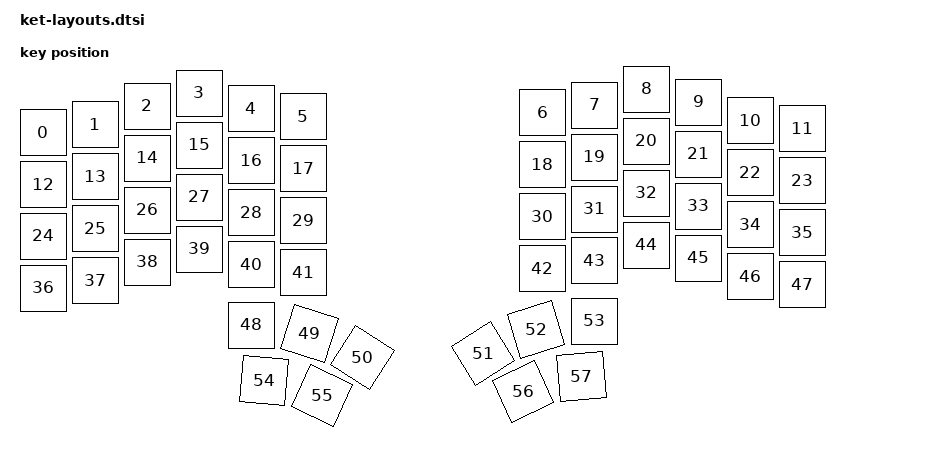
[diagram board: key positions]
#include <physical_layouts.dtsi>

/ {
    ket_physical_layout: ket_physical_layout {
        compatible = "zmk,physical-layout";
        display-name = "KET";

        kscan = <&kscan0>;
        transform = <&default_transform>;

        keys  //                     w   h    x    y     rot    rx    ry
            = <&key_physical_attrs 100 100    0   87       0     0     0>
            , <&key_physical_attrs 100 100  104   71       0     0     0>
            , <&key_physical_attrs 100 100  208   34       0     0     0>
            , <&key_physical_attrs 100 100  312    8       0     0     0>
            , <&key_physical_attrs 100 100  416   39       0     0     0>
            , <&key_physical_attrs 100 100  520   55       0     0     0>
            , <&key_physical_attrs 100 100  999   47       0     0     0>
            , <&key_physical_attrs 100 100 1103   32       0     0     0>
            , <&key_physical_attrs 100 100 1207    0       0     0     0>
            , <&key_physical_attrs 100 100 1311   26       0     0     0>
            , <&key_physical_attrs 100 100 1415   63       0     0     0>
            , <&key_physical_attrs 100 100 1519   79       0     0     0>
            , <&key_physical_attrs 100 100    0  191       0     0     0>
            , <&key_physical_attrs 100 100  104  175       0     0     0>
            , <&key_physical_attrs 100 100  208  138       0     0     0>
            , <&key_physical_attrs 100 100  312  112       0     0     0>
            , <&key_physical_attrs 100 100  416  143       0     0     0>
            , <&key_physical_attrs 100 100  520  159       0     0     0>
            , <&key_physical_attrs 100 100  999  151       0     0     0>
            , <&key_physical_attrs 100 100 1103  136       0     0     0>
            , <&key_physical_attrs 100 100 1207  104       0     0     0>
            , <&key_physical_attrs 100 100 1311  130       0     0     0>
            , <&key_physical_attrs 100 100 1415  167       0     0     0>
            , <&key_physical_attrs 100 100 1519  183       0     0     0>
            , <&key_physical_attrs 100 100    0  294       0     0     0>
            , <&key_physical_attrs 100 100  104  279       0     0     0>
            , <&key_physical_attrs 100 100  208  242       0     0     0>
            , <&key_physical_attrs 100 100  312  216       0     0     0>
            , <&key_physical_attrs 100 100  416  247       0     0     0>
            , <&key_physical_attrs 100 100  520  263       0     0     0>
            , <&key_physical_attrs 100 100  999  255       0     0     0>
            , <&key_physical_attrs 100 100 1103  240       0     0     0>
            , <&key_physical_attrs 100 100 1207  208       0     0     0>
            , <&key_physical_attrs 100 100 1311  234       0     0     0>
            , <&key_physical_attrs 100 100 1415  271       0     0     0>
            , <&key_physical_attrs 100 100 1519  287       0     0     0>
            , <&key_physical_attrs 100 100    0  398       0     0     0>
            , <&key_physical_attrs 100 100  104  383       0     0     0>
            , <&key_physical_attrs 100 100  208  346       0     0     0>
            , <&key_physical_attrs 100 100  312  320       0     0     0>
            , <&key_physical_attrs 100 100  416  351       0     0     0>
            , <&key_physical_attrs 100 100  520  367       0     0     0>
            , <&key_physical_attrs 100 100  999  359       0     0     0>
            , <&key_physical_attrs 100 100 1103  343       0     0     0>
            , <&key_physical_attrs 100 100 1207  312       0     0     0>
            , <&key_physical_attrs 100 100 1311  338       0     0     0>
            , <&key_physical_attrs 100 100 1415  375       0     0     0>
            , <&key_physical_attrs 100 100 1519  391       0     0     0>
            , <&key_physical_attrs 100 100  416  472       0     0     0>
            , <&key_physical_attrs 100 100  533  489    1700   583   539>
            , <&key_physical_attrs 100 100  639  537    3200   689   587>
            , <&key_physical_attrs 100 100  880  529 (-3200)   930   579>
            , <&key_physical_attrs 100 100  986  481 (-1700)  1036   531>
            , <&key_physical_attrs 100 100 1103  464       0     0     0>
            , <&key_physical_attrs 100 100  442  583     500   492   633>
            , <&key_physical_attrs 100 100  558  613    2500   608   663>
            , <&key_physical_attrs 100 100  960  605 (-2500)  1010   655>
            , <&key_physical_attrs 100 100 1077  575  (-500)  1127   625>
            ;
    };
};

